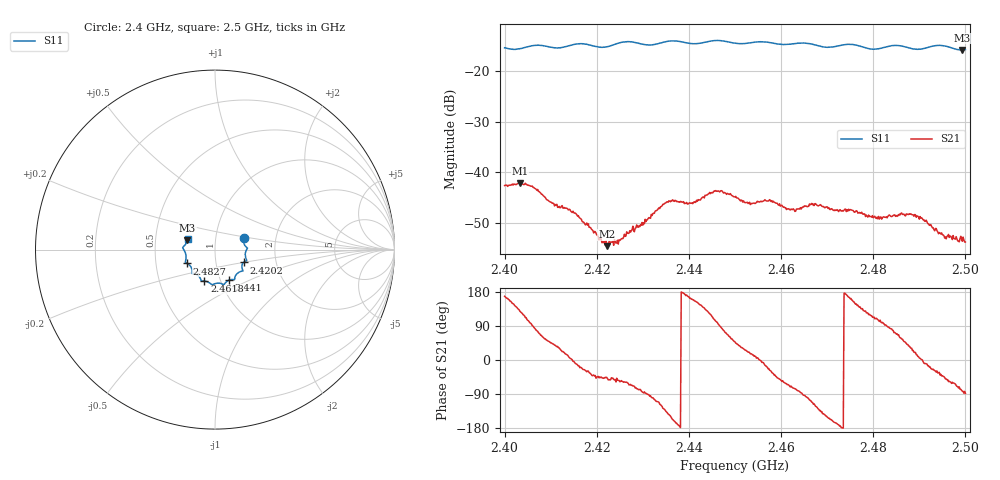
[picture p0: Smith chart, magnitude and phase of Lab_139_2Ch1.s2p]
# Hz S RI R 50
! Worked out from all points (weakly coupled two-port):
!   601 points, 2.4 GHz to 2.5 GHz, reference 50 ohm
!   highest |S21| = -42.10 dB at 2.4033 GHz (marker M1); lowest = -54.6 dB at 2.4222 GHz (marker M2)
!   lowest |S11| = -15.8 dB at 2.4993 GHz (marker M3), VSWR 1.39, Z = 36.5 + j3.81 ohm
!   |S11| at or under -10 dB: start of sweep to end of sweep
!   S12 and S22 are empty: the file has one direction only
!   S11 on the Smith chart (normalised r, x): 2.4 GHz: 1.36, +0.18; 2.4202 GHz: 1.36, -0.20; 2.441 GHz: 1.10, -0.39; 2.4618 GHz: 0.84, -0.30; 2.4827 GHz: 0.72, -0.11; 2.5 GHz: 0.73, +0.09
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2.4e9  0.1589 0.0628  -0.00725 0.00153  0 0  0 0
2.403333e9  0.1651 0.0255  -0.00488 0.00615  0 0  0 0
2.406333e9  0.1798 0.0101  0.000431 0.00707  0 0  0 0
2.416667e9  0.1772 -0.0608  0.00322 -0.0012  0 0  0 0
2.420167e9  0.1588 -0.0715  0.00174 -0.00168  0 0  0 0
2.422167e9  0.1502 -0.0891  0.0013 -0.00134  0 0  0 0
2.425167e9  0.1544 -0.1144  0.0012 -0.0018  0 0  0 0
2.433333e9  0.1117 -0.1507  -0.00152 -0.00409  0 0  0 0
2.436167e9  0.1089 -0.1671  -0.00463 -0.00251  0 0  0 0
2.441e9  0.0789 -0.1698  -0.00471 0.00183  0 0  0 0
2.445833e9  0.0501 -0.1953  -0.00141 0.00646  0 0  0 0
2.45e9  0.0285 -0.1875  0.00384 0.00425  0 0  0 0
2.453333e9  -0.00318 -0.1911  0.00462 0.00136  0 0  0 0
2.457833e9  -0.0243 -0.1899  0.00448 -0.00253  0 0  0 0
2.461833e9  -0.0591 -0.1755  0.00159 -0.00399  0 0  0 0
2.466667e9  -0.0788 -0.1682  -0.00179 -0.0046  0 0  0 0
2.482667e9  -0.156 -0.0769  -0.000163 0.00359  0 0  0 0
2.483333e9  -0.1602 -0.0749  0.000201 0.00374  0 0  0 0
2.488667e9  -0.161 -0.0419  0.00344 0.00162  0 0  0 0
2.4955e9  -0.1775 0.0146  0.00155 -0.00162  0 0  0 0
2.499333e9  -0.1542 0.0508  0.000274 -0.00207  0 0  0 0
2.5e9  -0.1524 0.0603  6.56e-05 -0.00205  0 0  0 0
